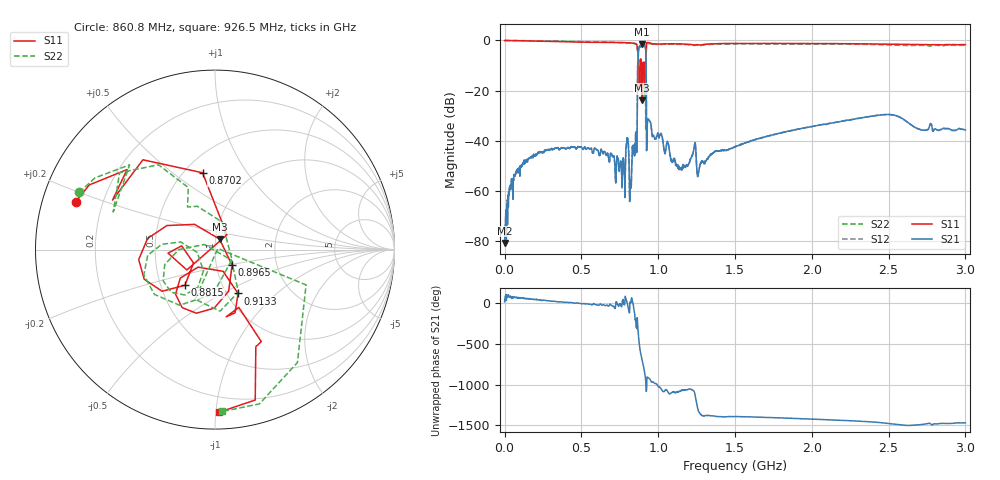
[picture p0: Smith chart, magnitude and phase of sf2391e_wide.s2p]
# Hz S RI R 50
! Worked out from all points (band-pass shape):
!   1601 points, 300 kHz to 3 GHz, reference 50 ohm
!   highest |S21| = -1.41 dB at 894.6 MHz (marker M1); lowest = -80.7 dB at 2.175 MHz (marker M2)
!   |S21| within 3 dB of the highest: 871.9 MHz to 919.4 MHz (47.52 MHz wide, 5.31 % of centre)
!   lowest |S11| = -23.9 dB at 894.6 MHz (marker M3), VSWR 1.14, Z = 52.3 + j6.12 ohm
!   |S11| at or under -10 dB: 870.6 MHz to 882.5 MHz (11.84 MHz wide, 1.35 % of centre); 890.4 MHz to 900 MHz (9.591 MHz wide, 1.07 % of centre); 906.2 MHz to 914.2 MHz (8.049 MHz wide, 0.884 % of centre)
!   |S22| runs from -35.3 to 0.0 dB; largest |S21 - S12| = 0.0055
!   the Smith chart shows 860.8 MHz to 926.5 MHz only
!   S11 on the Smith chart (normalised r, x): 860.8 MHz: 0.10, +0.17; 870.2 MHz: 0.61, +0.65; 881.5 MHz: 0.67, -0.28; 896.5 MHz: 1.19, -0.21; 913.3 MHz: 1.13, -0.60; 926.5 MHz: 0.10, -1.02
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300000  0.9951 -0.000502  0.000153 5.09e-05  -7.38e-05 2.96e-05  0.9979 -0.00202
2174812  0.9992 -0.00679  4.97e-05 7.79e-05  4.31e-05 7.04e-05  1.001 -0.00751
3.592144e7  0.9906 -0.1249  0.000238 0.00103  0.0002 0.00108  0.991 -0.1318
1.221628e8  0.9003 -0.4054  0.00151 0.00316  0.00154 0.00311  0.8976 -0.4243
5.008749e8  -0.0468 -0.9261  0.00746 -0.000655  0.00749 -0.000548  -0.1129 -0.9441
7.952205e8  -0.7527 -0.4963  0.00802 0.0046  0.00791 0.00453  -0.7812 -0.4216
8.233427e8  -0.8186 -0.3569  0.00114 0.000273  0.00107 0.000365  -0.8497 -0.2776
8.477152e8  -0.8708 -0.0915  -0.00571 -0.00654  -0.00562 -0.00652  -0.851 0.000916
8.608389e8  -0.7752 0.268  0.00384 0.00454  0.00373 0.00457  -0.7569 0.3183
8.70213e8  -0.0693 0.4281  0.4733 -0.033  0.4731 -0.0324  -0.3151 0.4727
8.814619e8  -0.1669 -0.1985  -0.7256 0.3245  -0.7246 0.326  -0.0116 -0.2489
8.945856e8  0.0257 0.0583  0.7372 0.4239  0.7391 0.4231  -0.0985 -0.0162
8.964604e8  0.0951 -0.087  0.8315 0.1714  0.8358 0.1747  -0.0641 -0.1181
9.133337e8  0.1285 -0.2445  -0.6608 -0.4173  -0.6603 -0.4156  0.13 -0.2366
9.264574e8  0.0227 -0.9059  -0.00856 0.00235  -0.00859 0.00239  0.0407 -0.9018
9.395811e8  -0.417 -0.8014  -0.0246 0.00898  -0.0246 0.0089  -0.4065 -0.763
1.00145e9  -0.6819 -0.5047  0.00774 0.0104  0.00777 0.0103  -0.695 -0.4472
1.143936e9  -0.8278 -0.2076  0.00283 0.000195  0.00274 0.000222  -0.8246 -0.1487
1.50015e9  -0.8114 0.325  0.00503 0.00572  0.00502 0.00568  -0.7776 0.3574
2.000725e9  -0.3498 0.7949  0.0185 0.00577  0.0184 0.00576  -0.2961 0.7928
2.5013e9  0.2309 0.8122  0.0269 -0.0199  0.0268 -0.0199  0.319 0.7501
3e9  0.6854 0.4621  0.0144 -0.00774  0.0144 -0.00778  0.7428 0.3011
